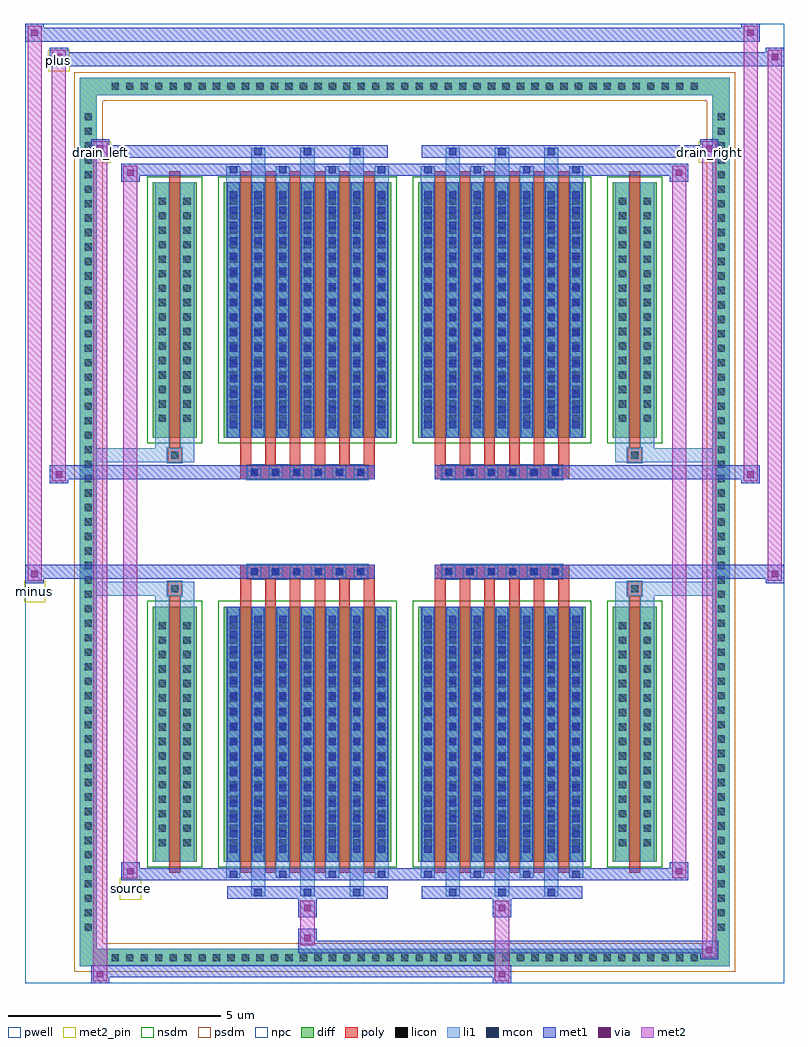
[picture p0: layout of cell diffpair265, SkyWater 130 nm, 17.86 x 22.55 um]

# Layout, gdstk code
import gdstk
lib = gdstk.Library(unit=1e-6, precision=5e-09)
def R(c, l, rs):  # rectangles x0, y0, x1, y1
    for r in rs: c.add(gdstk.rectangle(r[:2], r[2:], *l))
def A(c, l, x, y, w, h, nx, ny, dx, dy):  # array of equal rectangles
    R(c, l, [(x+i*dx, y+j*dy, x+i*dx+w, y+j*dy+h) for i in range(nx) for j in range(ny)])
def P(c, l, *ps):  # polygons
    for p in ps: c.add(gdstk.Polygon(p, *l))
pwell = (64, 44)
diff = (65, 20)
poly = (66, 20)
licon = (66, 44)
li1 = (67, 20)
mcon = (67, 44)
met1 = (68, 20)
via = (68, 44)
met2_pin = (69, 16)
met2 = (69, 20)
nsdm = (93, 44)
psdm = (94, 20)
npc = (95, 20)

diffpair265 = lib.new_cell('diffpair265')
R(diffpair265, pwell, [(-8.91,-10.84,8.91,11.71), (-6.23,-9.03,-0.01,-0.805), (0.01,-9.03,6.23,-0.805), (-6.23,0.805,-0.01,9.03), (0.01,0.805,6.23,9.03)])
A(diffpair265, diff, -7.005, -10.44, 0.41, 0.41, 41, 2, 0.34, 20.47)
A(diffpair265, diff, -7.64, -9.725, 0.41, 0.41, 1, 57, 0, 0.34)
A(diffpair265, diff, 7.23, -9.725, 0.41, 0.41, 1, 57, 0, 0.34)
R(diffpair265, diff, [(-7.005,-10.44,7.005,-10.03), (-7.64,-9.725,-7.23,9.725), (7.23,-9.725,7.64,9.725), (-5.92,-7.985,-4.89,-1.985), (-4.25,-7.985,-0.32,-1.985), (0.32,-7.985,4.25,-1.985), (4.89,-7.985,5.92,-1.985), (-5.92,1.985,-4.89,7.985), (-4.25,1.985,-0.32,7.985), (0.32,1.985,4.25,7.985), (4.89,1.985,5.92,7.985), (-7.005,10.03,7.005,10.44)])
P(diffpair265, diff, [(7.64,10.44),(-7.64,10.44),(-7.64,-10.03),(-7.23,-10.03),(-7.23,10.03),(7.23,10.03),(7.23,-10.03),(-7.23,-10.03),(-7.64,-10.03),(-7.64,-10.44),(7.64,-10.44)])
A(diffpair265, poly, -3.86, -8.235, 0.25, 6.5, 6, 2, 0.58, 9.97)
A(diffpair265, poly, 0.71, -8.235, 0.25, 6.5, 6, 2, 0.58, 9.97)
A(diffpair265, poly, -3.86, -1.735, 0.25, 0.4, 6, 2, 0.58, 3.07)
A(diffpair265, poly, 0.71, -1.735, 0.25, 0.4, 6, 2, 0.58, 3.07)
A(diffpair265, poly, -3.7, -1.335, 0.33, 0.33, 6, 2, 0.5, 2.34)
A(diffpair265, poly, 0.87, -1.335, 0.33, 0.33, 6, 2, 0.5, 2.34)
R(diffpair265, poly, [(-5.53,-8.235,-5.28,-1.735), (5.28,-8.235,5.53,-1.735), (-5.57,-1.735,-5.24,-1.405), (-5.57,-1.735,-5.24,-1.405), (5.24,-1.735,5.57,-1.405), (5.24,-1.735,5.57,-1.405), (-3.86,-1.335,-0.71,-1.005), (0.71,-1.335,3.86,-1.005), (-3.86,1.005,-0.71,1.335), (0.71,1.005,3.86,1.335), (-5.57,1.405,-5.24,1.735), (-5.57,1.405,-5.24,1.735), (5.24,1.405,5.57,1.735), (5.24,1.405,5.57,1.735), (-5.53,1.735,-5.28,8.235), (5.28,1.735,5.53,8.235)])
A(diffpair265, licon, -6.885, -10.32, 0.17, 0.17, 41, 2, 0.34, 20.47)
A(diffpair265, licon, -7.52, -9.605, 0.17, 0.17, 1, 57, 0, 0.34)
A(diffpair265, licon, 7.35, -9.605, 0.17, 0.17, 1, 57, 0, 0.34)
A(diffpair265, licon, -5.78, -7.62, 0.17, 0.17, 1, 16, 0, 0.34)
A(diffpair265, licon, -5.2, -7.62, 0.17, 0.17, 1, 16, 0, 0.34)
A(diffpair265, licon, -4.11, -7.62, 0.17, 0.17, 7, 16, 0.58, 0.34)
A(diffpair265, licon, 0.46, -7.62, 0.17, 0.17, 7, 16, 0.58, 0.34)
A(diffpair265, licon, 5.03, -7.62, 0.17, 0.17, 1, 16, 0, 0.34)
A(diffpair265, licon, 5.61, -7.62, 0.17, 0.17, 1, 16, 0, 0.34)
A(diffpair265, licon, -3.62, -1.255, 0.17, 0.17, 6, 2, 0.5, 2.34)
A(diffpair265, licon, 0.95, -1.255, 0.17, 0.17, 6, 2, 0.5, 2.34)
A(diffpair265, licon, -5.78, 2.35, 0.17, 0.17, 1, 16, 0, 0.34)
A(diffpair265, licon, -5.2, 2.35, 0.17, 0.17, 1, 16, 0, 0.34)
A(diffpair265, licon, -4.11, 2.35, 0.17, 0.17, 7, 16, 0.58, 0.34)
A(diffpair265, licon, 0.46, 2.35, 0.17, 0.17, 7, 16, 0.58, 0.34)
A(diffpair265, licon, 5.03, 2.35, 0.17, 0.17, 1, 16, 0, 0.34)
A(diffpair265, licon, 5.61, 2.35, 0.17, 0.17, 1, 16, 0, 0.34)
R(diffpair265, licon, [(-5.49,-1.655,-5.32,-1.485), (5.32,-1.655,5.49,-1.485), (-5.49,1.485,-5.32,1.655), (5.32,1.485,5.49,1.655)])
A(diffpair265, li1, -6.965, -10.4, 0.33, 0.33, 41, 2, 0.34, 20.47)
A(diffpair265, li1, -7.6, -9.685, 0.33, 0.33, 1, 57, 0, 0.34)
A(diffpair265, li1, 7.27, -9.685, 0.33, 0.33, 1, 57, 0, 0.34)
A(diffpair265, li1, -3.61, -8.79, 0.33, 0.805, 3, 2, 1.16, 16.775)
A(diffpair265, li1, -3.53, -8.79, 0.17, 0.17, 3, 2, 1.16, 17.41)
A(diffpair265, li1, 0.96, -8.79, 0.33, 0.805, 3, 2, 1.16, 16.775)
A(diffpair265, li1, 1.04, -8.79, 0.17, 0.17, 3, 2, 1.16, 17.41)
A(diffpair265, li1, -4.19, -8.36, 0.33, 0.375, 4, 2, 1.16, 16.345)
A(diffpair265, li1, -4.11, -8.36, 0.17, 0.17, 4, 2, 1.16, 16.55)
A(diffpair265, li1, 0.38, -8.36, 0.33, 0.375, 4, 2, 1.16, 16.345)
A(diffpair265, li1, 0.46, -8.36, 0.17, 0.17, 4, 2, 1.16, 16.55)
A(diffpair265, li1, -4.19, -7.985, 0.33, 6, 7, 2, 0.58, 9.97)
A(diffpair265, li1, 0.38, -7.985, 0.33, 6, 7, 2, 0.58, 9.97)
A(diffpair265, li1, -4.11, -7.77, 0.17, 0.17, 7, 16, 0.58, 0.36)
A(diffpair265, li1, -4.11, -7.77, 0.17, 5.57, 7, 2, 0.58, 9.97)
A(diffpair265, li1, 0.46, -7.77, 0.17, 0.17, 7, 16, 0.58, 0.36)
A(diffpair265, li1, 0.46, -7.77, 0.17, 5.57, 7, 2, 0.58, 9.97)
A(diffpair265, li1, -5.86, -7.7, 0.33, 0.33, 1, 16, 0, 0.34)
A(diffpair265, li1, -5.28, -7.7, 0.33, 0.33, 1, 16, 0, 0.34)
A(diffpair265, li1, -4.19, -7.7, 0.33, 0.33, 7, 16, 0.58, 0.34)
A(diffpair265, li1, 0.38, -7.7, 0.33, 0.33, 7, 16, 0.58, 0.34)
A(diffpair265, li1, 4.95, -7.7, 0.33, 0.33, 1, 16, 0, 0.34)
A(diffpair265, li1, 5.53, -7.7, 0.33, 0.33, 1, 16, 0, 0.34)
A(diffpair265, li1, -3.7, -1.335, 0.33, 0.33, 6, 2, 0.5, 2.34)
A(diffpair265, li1, 0.87, -1.335, 0.33, 0.33, 6, 2, 0.5, 2.34)
A(diffpair265, li1, -4.11, 2.2, 0.17, 0.17, 7, 16, 0.58, 0.36)
A(diffpair265, li1, 0.46, 2.2, 0.17, 0.17, 7, 16, 0.58, 0.36)
A(diffpair265, li1, -5.86, 2.27, 0.33, 0.33, 1, 16, 0, 0.34)
A(diffpair265, li1, -5.28, 2.27, 0.33, 0.33, 1, 16, 0, 0.34)
A(diffpair265, li1, -4.19, 2.27, 0.33, 0.33, 7, 16, 0.58, 0.34)
A(diffpair265, li1, 0.38, 2.27, 0.33, 0.33, 7, 16, 0.58, 0.34)
A(diffpair265, li1, 4.95, 2.27, 0.33, 0.33, 1, 16, 0, 0.34)
A(diffpair265, li1, 5.53, 2.27, 0.33, 0.33, 1, 16, 0, 0.34)
R(diffpair265, li1, [(-7.64,-10.44,-7.23,-10.03), (-7.64,-10.44,-7.23,-10.03), (-7.23,-10.44,7.23,-10.03), (7.23,-10.44,7.64,-10.03), (7.23,-10.44,7.64,-10.03), (-7.64,-10.03,-7.23,10.03), (7.23,-10.03,7.64,10.03), (-5.86,-7.985,-5.53,-1.985), (-5.28,-7.985,-4.95,-1.985), (4.95,-7.985,5.28,-1.985), (5.53,-7.985,5.86,-1.985), (-5.86,-1.985,-5.53,-1.405), (-5.28,-1.985,-4.95,-1.405), (4.95,-1.985,5.28,-1.405), (5.53,-1.985,5.86,-1.405), (-7.64,-1.735,-5.57,-1.405), (-5.86,-1.735,-5.57,-1.405), (-5.57,-1.735,-5.24,-1.405), (-5.24,-1.735,-4.95,-1.405), (4.95,-1.735,5.24,-1.405), (5.24,-1.735,5.57,-1.405), (5.24,-1.735,7.64,-1.405), (5.57,-1.735,5.86,-1.405), (-7.64,1.405,-5.57,1.735), (-5.86,1.405,-5.57,1.735), (-5.86,1.405,-5.53,1.985), (-5.57,1.405,-5.24,1.735), (-5.28,1.405,-4.95,1.985), (-5.24,1.405,-4.95,1.735), (4.95,1.405,5.24,1.735), (4.95,1.405,5.28,1.985), (5.24,1.405,5.57,1.735), (5.24,1.405,7.64,1.735), (5.53,1.405,5.86,1.985), (5.57,1.405,5.86,1.735), (-5.86,1.985,-5.53,7.985), (-5.28,1.985,-4.95,7.985), (4.95,1.985,5.28,7.985), (5.53,1.985,5.86,7.985), (-7.64,10.03,-7.23,10.44), (-7.64,10.03,-7.23,10.44), (-7.23,10.03,7.23,10.44), (7.23,10.03,7.64,10.44), (7.23,10.03,7.64,10.44)])
A(diffpair265, mcon, -3.53, -8.79, 0.17, 0.17, 3, 2, 1.16, 17.41)
A(diffpair265, mcon, 1.04, -8.79, 0.17, 0.17, 3, 2, 1.16, 17.41)
A(diffpair265, mcon, -4.11, -8.36, 0.17, 0.17, 4, 2, 1.16, 16.55)
A(diffpair265, mcon, 0.46, -8.36, 0.17, 0.17, 4, 2, 1.16, 16.55)
A(diffpair265, mcon, -4.11, -7.77, 0.17, 0.17, 7, 16, 0.58, 0.36)
A(diffpair265, mcon, 0.46, -7.77, 0.17, 0.17, 7, 16, 0.58, 0.36)
A(diffpair265, mcon, -3.62, -1.255, 0.17, 0.17, 6, 2, 0.5, 2.34)
A(diffpair265, mcon, 0.95, -1.255, 0.17, 0.17, 6, 2, 0.5, 2.34)
A(diffpair265, mcon, -4.11, 2.2, 0.17, 0.17, 7, 16, 0.58, 0.36)
A(diffpair265, mcon, 0.46, 2.2, 0.17, 0.17, 7, 16, 0.58, 0.36)
A(diffpair265, met1, -3.59, -8.85, 0.29, 0.29, 3, 2, 1.16, 17.41)
A(diffpair265, met1, 0.98, -8.85, 0.29, 0.29, 3, 2, 1.16, 17.41)
A(diffpair265, met1, -4.17, -8.42, 0.29, 0.29, 4, 2, 1.16, 16.55)
A(diffpair265, met1, 0.4, -8.42, 0.29, 0.29, 4, 2, 1.16, 16.55)
A(diffpair265, met1, -4.17, -7.985, 0.29, 6, 7, 2, 0.58, 9.97)
A(diffpair265, met1, 0.4, -7.985, 0.29, 6, 7, 2, 0.58, 9.97)
A(diffpair265, met1, -4.17, -7.83, 0.29, 0.29, 7, 16, 0.58, 0.36)
A(diffpair265, met1, 0.4, -7.83, 0.29, 0.29, 7, 16, 0.58, 0.36)
A(diffpair265, met1, -3.68, -1.315, 0.29, 0.29, 6, 2, 0.5, 2.34)
A(diffpair265, met1, 0.89, -1.315, 0.29, 0.29, 6, 2, 0.5, 2.34)
A(diffpair265, met1, -4.17, 2.14, 0.29, 0.29, 7, 16, 0.58, 0.36)
A(diffpair265, met1, 0.4, 2.14, 0.29, 0.29, 7, 16, 0.58, 0.36)
R(diffpair265, met1, [(-7.37,-10.84,-6.94,-10.41), (2.07,-10.84,2.5,-10.41), (-7.37,-10.7,2.5,-10.41), (6.94,-10.27,7.37,-9.84), (-2.5,-10.13,7.37,-9.84), (-2.5,-9.99,-2.07,-9.56), (-2.5,-9.28,-2.07,-8.85), (2.07,-9.28,2.5,-8.85), (-4.17,-8.85,-0.4,-8.56), (0.4,-8.85,4.17,-8.56), (-6.66,-8.42,-6.23,-7.99), (-6.66,-8.42,-4.17,-8.13), (-4.17,-8.42,-0.4,-8.13), (-0.4,-8.42,0.4,-8.13), (0.4,-8.42,4.17,-8.13), (4.17,-8.42,6.66,-8.13), (6.23,-8.42,6.66,-7.99), (-8.91,-1.435,-8.48,-1.005), (8.48,-1.435,8.91,-1.005), (-8.91,-1.335,-0.71,-1.005), (-3.86,-1.335,-0.71,-1.005), (0.71,-1.335,3.86,-1.005), (0.71,-1.335,8.91,-1.005), (-8.34,0.905,-7.91,1.335), (7.91,0.905,8.34,1.335), (-8.34,1.005,-3.86,1.335), (-3.86,1.005,-0.71,1.335), (0.71,1.005,3.86,1.335), (3.86,1.005,8.34,1.335), (-6.66,7.99,-6.23,8.42), (6.23,7.99,6.66,8.42), (-6.66,8.13,-4.17,8.42), (-4.17,8.13,-0.4,8.42), (-0.4,8.13,0.4,8.42), (0.4,8.13,4.17,8.42), (4.17,8.13,6.66,8.42), (-7.37,8.56,-6.94,8.99), (-7.37,8.56,-4.17,8.85), (-4.17,8.56,-0.4,8.85), (0.4,8.56,4.17,8.85), (4.17,8.56,7.37,8.85), (6.94,8.56,7.37,8.99), (-8.34,10.71,-7.91,11.14), (-8.34,10.71,-6.23,11.04), (-6.23,10.71,6.23,11.04), (6.23,10.71,8.91,11.04), (8.48,10.71,8.91,11.14), (-8.91,11.28,-8.48,11.71), (-8.91,11.28,-6.23,11.61), (-6.23,11.28,6.23,11.61), (6.23,11.28,8.34,11.61), (7.91,11.28,8.34,11.71)])
R(diffpair265, via, [(-7.23,-10.7,-7.08,-10.55), (2.21,-10.7,2.36,-10.55), (7.08,-10.13,7.23,-9.98), (-2.36,-9.85,-2.21,-9.7), (-2.36,-9.14,-2.21,-8.99), (2.21,-9.14,2.36,-8.99), (-6.52,-8.28,-6.37,-8.13), (6.37,-8.28,6.52,-8.13), (-8.77,-1.295,-8.62,-1.145), (8.62,-1.295,8.77,-1.145), (-8.2,1.045,-8.05,1.195), (8.05,1.045,8.2,1.195), (-6.52,8.13,-6.37,8.28), (6.37,8.13,6.52,8.28), (-7.23,8.7,-7.08,8.85), (7.08,8.7,7.23,8.85), (-8.2,10.85,-8.05,11), (8.62,10.85,8.77,11), (-8.77,11.42,-8.62,11.57), (8.05,11.42,8.2,11.57)])
R(diffpair265, met2_pin, [(-6.695,-8.87,-6.195,-8.37), (-8.945,-1.885,-8.445,-1.385), (-7.405,8.44,-6.905,8.94), (6.905,8.44,7.405,8.94), (-8.375,10.59,-7.875,11.09)])
R(diffpair265, met2, [(-7.32,-10.79,-6.99,-10.46), (-7.32,-10.79,-6.99,8.94), (2.12,-10.79,2.45,-10.46), (2.12,-10.46,2.45,-9.23), (6.99,-10.22,7.32,-9.89), (6.99,-10.22,7.32,8.94), (-2.45,-9.94,-2.12,-9.61), (-2.45,-9.61,-2.12,-9.23), (-2.45,-9.23,-2.12,-8.9), (2.12,-9.23,2.45,-8.9), (-6.61,-8.37,-6.28,-8.04), (-6.61,-8.37,-6.28,8.37), (6.28,-8.37,6.61,-8.04), (6.28,-8.37,6.61,8.37), (-8.86,-1.385,-8.53,-1.055), (-8.86,-1.385,-8.53,11.66), (8.53,-1.385,8.86,-1.055), (8.53,-1.385,8.86,11.09), (-8.29,0.955,-7.96,1.285), (-8.29,0.955,-7.96,11.09), (7.96,0.955,8.29,1.285), (7.96,0.955,8.29,11.66), (-6.61,8.04,-6.28,8.37), (6.28,8.04,6.61,8.37), (-7.32,8.61,-6.99,8.94), (6.99,8.61,7.32,8.94), (-8.29,10.76,-7.96,11.09), (8.53,10.76,8.86,11.09), (-8.86,11.33,-8.53,11.66), (7.96,11.33,8.29,11.66)])
P(diffpair265, met2, [(8.86,-1.385),(8.86,-1.385),(8.86,-1.055),(8.86,-1.055)],
  [(8.86,10.76),(8.86,10.76),(8.86,11.09),(8.86,11.09)],
  [(-8.53,-1.385),(-8.53,-1.385),(-8.53,-1.055),(-8.53,-1.055)],
  [(-8.53,11.33),(-8.53,11.33),(-8.53,11.66),(-8.53,11.66)],
  [(8.29,0.955),(8.29,0.955),(8.29,1.285),(8.29,1.285)],
  [(8.29,11.33),(8.29,11.33),(8.29,11.66),(8.29,11.66)],
  [(-7.96,0.955),(-7.96,0.955),(-7.96,1.285),(-7.96,1.285)],
  [(-7.96,10.76),(-7.96,10.76),(-7.96,11.09),(-7.96,11.09)],
  [(-6.99,-10.79),(-6.99,-10.79),(-6.99,-10.46),(-6.99,-10.46)],
  [(-6.99,8.61),(-6.99,8.61),(-6.99,8.94),(-6.99,8.94)],
  [(7.32,-10.22),(7.32,-10.22),(7.32,-9.89),(7.32,-9.89)],
  [(7.32,8.61),(7.32,8.61),(7.32,8.94),(7.32,8.94)],
  [(-6.28,-8.37),(-6.28,-8.37),(-6.28,-8.04),(-6.28,-8.04)],
  [(-6.28,8.04),(-6.28,8.04),(-6.28,8.37),(-6.28,8.37)],
  [(6.61,-8.37),(6.61,-8.37),(6.61,-8.04),(6.61,-8.04)],
  [(6.61,8.04),(6.61,8.04),(6.61,8.37),(6.61,8.37)])
R(diffpair265, nsdm, [(-6.05,-8.115,-4.76,-1.855), (-4.38,-8.115,-0.19,-1.855), (0.19,-8.115,4.38,-1.855), (4.76,-8.115,6.05,-1.855), (-6.05,1.855,-4.76,8.115), (-4.38,1.855,-0.19,8.115), (0.19,1.855,4.38,8.115), (4.76,1.855,6.05,8.115)])
P(diffpair265, psdm, [(7.77,10.57),(-7.77,10.57),(-7.77,-9.9),(-7.1,-9.9),(-7.1,9.9),(7.1,9.9),(7.1,-9.9),(-7.1,-9.9),(-7.77,-9.9),(-7.77,-10.57),(7.77,-10.57)])
A(diffpair265, npc, -3.72, -1.355, 0.37, 0.37, 6, 2, 0.5, 2.34)
A(diffpair265, npc, 0.85, -1.355, 0.37, 0.37, 6, 2, 0.5, 2.34)
R(diffpair265, npc, [(-5.59,-1.755,-5.22,-1.385), (5.22,-1.755,5.59,-1.385), (-3.72,-1.355,-2.85,-0.985), (-3.72,-1.355,-2.85,-0.985), (-3.22,-1.355,-2.35,-0.985), (-3.22,-1.355,-2.35,-0.985), (-2.72,-1.355,-1.85,-0.985), (-2.72,-1.355,-1.85,-0.985), (-2.22,-1.355,-1.35,-0.985), (-2.22,-1.355,-1.35,-0.985), (-1.72,-1.355,-0.85,-0.985), (-1.72,-1.355,-0.85,-0.985), (0.85,-1.355,1.72,-0.985), (0.85,-1.355,1.72,-0.985), (1.35,-1.355,2.22,-0.985), (1.35,-1.355,2.22,-0.985), (1.85,-1.355,2.72,-0.985), (1.85,-1.355,2.72,-0.985), (2.35,-1.355,3.22,-0.985), (2.35,-1.355,3.22,-0.985), (2.85,-1.355,3.72,-0.985), (2.85,-1.355,3.72,-0.985), (-3.72,0.985,-2.85,1.355), (-3.72,0.985,-2.85,1.355), (-3.22,0.985,-2.35,1.355), (-3.22,0.985,-2.35,1.355), (-2.72,0.985,-1.85,1.355), (-2.72,0.985,-1.85,1.355), (-2.22,0.985,-1.35,1.355), (-2.22,0.985,-1.35,1.355), (-1.72,0.985,-0.85,1.355), (-1.72,0.985,-0.85,1.355), (0.85,0.985,1.72,1.355), (0.85,0.985,1.72,1.355), (1.35,0.985,2.22,1.355), (1.35,0.985,2.22,1.355), (1.85,0.985,2.72,1.355), (1.85,0.985,2.72,1.355), (2.35,0.985,3.22,1.355), (2.35,0.985,3.22,1.355), (2.85,0.985,3.72,1.355), (2.85,0.985,3.72,1.355), (-5.59,1.385,-5.22,1.755), (5.22,1.385,5.59,1.755)])
diffpair265.add(gdstk.Label('minus', (-8.695,-1.635), layer=69, texttype=5))
diffpair265.add(gdstk.Label('drain_right', (7.155,8.69), layer=69, texttype=5))
diffpair265.add(gdstk.Label('drain_left', (-7.155,8.69), layer=69, texttype=5))
diffpair265.add(gdstk.Label('source', (-6.445,-8.62), layer=69, texttype=5))
diffpair265.add(gdstk.Label('plus', (-8.125,10.84), layer=69, texttype=5))

lib.write_gds('diffpair265.gds')
